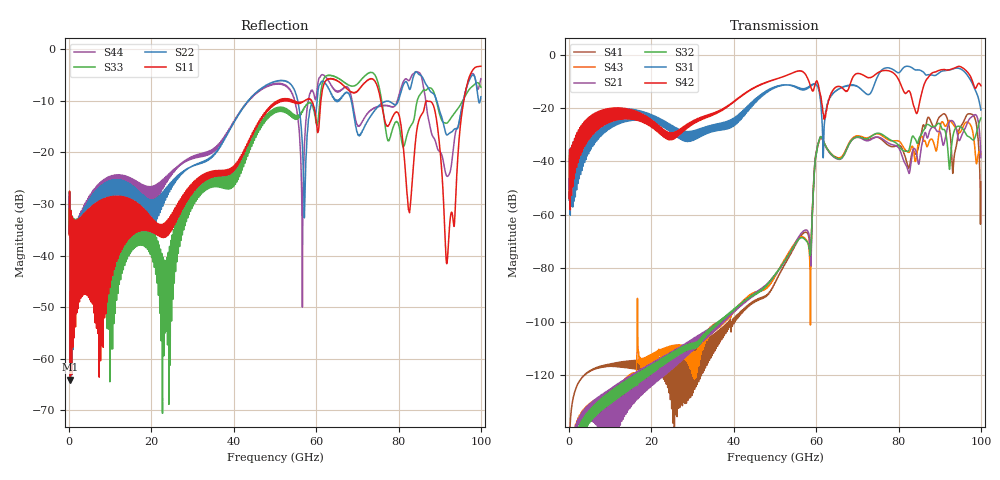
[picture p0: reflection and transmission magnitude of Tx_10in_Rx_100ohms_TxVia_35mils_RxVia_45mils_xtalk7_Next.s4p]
! Info: Touchstone file created by Circ.  Input file=Tx_10in_Rx_100ohms_TxVia_35mils_RxVia_45mils.circ
# Hz S RI R 50
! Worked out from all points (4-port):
!   10000 points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, 10 MHz to 100 GHz, reference 50 ohm
!   strongest paths, dB at 10 MHz, 25.01 GHz, 50.01 GHz, 75.01 GHz, 100 GHz:
!     S42: -53.9, -29.8, -9.3, -6.8, -11.6
!     S31: -54.5, -28.2, -12.2, -7.9, -20.7
!     S32: -179.9, -111.8, -82.3, -29.4, -23.7
!     S21: -175.4, -111.3, -82.3, -30.9, -38.6
!     S43: -175.0, -108.9, -83.1, -29.7, -37.3
!     S41: -162.1, -113.1, -85.5, -31.0, -47.6
!   lowest |S11| = -64.1 dB at 310 MHz (marker M1), VSWR 1.00, Z = 50 - j0.0586 ohm
!   |S11| at or under -10 dB: start of sweep to 50.63 GHz; 54.59 GHz to 57.12 GHz (2.532 GHz wide, 4.53 % of centre); 75.73 GHz to 95.85 GHz (20.12 GHz wide, 23.5 % of centre) (the widest 3 of 16)
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1e7  0.0143 0.00682  1.15e-09 1.24e-09  0.000302 0.00186  4.96e-09 6.08e-09
     1.15e-09 1.24e-09  0.0153 0.00656  6.34e-10 7.94e-10  0.000653 0.0019
     0.000302 0.00186  6.34e-10 7.94e-10  0.0149 0.00655  1.21e-09 1.3e-09
     4.96e-09 6.08e-09  0.000653 0.0019  1.21e-09 1.3e-09  0.0152 0.00659
3.1e8  0.000221 -0.000586  3.67e-10 2.88e-08  0.000838 0.004  -3.5e-09 1.37e-07
       3.67e-10 2.88e-08  0.000475 -0.000558  2.25e-09 1.74e-08  0.00094 0.00404
       0.000838 0.004  2.25e-09 1.74e-08  0.000263 -0.000555  1.31e-10 2.96e-08
       -3.5e-09 1.37e-07  0.00094 0.00404  1.31e-10 2.96e-08  0.00054 -0.000356
5.087e10  0.0774 0.2966  1.46e-05 -8.9e-05  0.1739 0.1863  1.51e-05 -7.22e-05
          1.46e-05 -8.9e-05  0.4482 0.2057  3.34e-06 -9.38e-05  0.3429 -0.1121
          0.1739 0.1863  3.34e-06 -9.38e-05  0.0734 0.238  -2.41e-06 -9.42e-05
          1.51e-05 -7.22e-05  0.3429 -0.1121  -2.41e-06 -9.42e-05  0.4219 0.1798
6.092e10  0.1979 0.1408  0.0209 0.0189  -0.1604 -0.0185  0.0203 0.0183
          0.0209 0.0189  0.4272 -0.1622  0.022 0.0174  0.0465 0.1872
          -0.1604 -0.0185  0.022 0.0174  0.2256 0.2239  0.0213 0.0169
          0.0203 0.0183  0.0465 0.1872  0.0213 0.0169  0.4976 -0.1923
7.341e10  -0.2918 -0.4256  -0.00959 0.0241  -0.00746 0.2012  -0.0084 0.0254
          -0.00959 0.0241  -0.0505 0.224  -0.00978 0.0279  0.3063 -0.2167
          -0.00746 0.2012  -0.00978 0.0279  -0.3802 -0.4565  -0.00849 0.0287
          -0.0084 0.0254  0.3063 -0.2167  -0.00849 0.0287  -0.067 0.2494
9.178e10  0.00606 -0.00598  -0.0356 -0.0179  0.4133 -0.2948  0.0386 0.0526
          -0.0356 -0.0179  0.1441 0.0313  0.00386 0.0232  0.4051 -0.3171
          0.4133 -0.2948  0.00386 0.0232  0.1889 -0.0381  -0.05 -0.00226
          0.0386 0.0526  0.4051 -0.3171  -0.05 -0.00226  0.0581 0.00879
1e11  -0.5731 0.371  -0.0117 0.00143  0.0627 0.067  -0.00274 -0.00313
      -0.0117 0.00143  -0.3444 0.0314  0.0223 0.0612  0.0186 0.261
      0.0627 0.067  0.0223 0.0612  -0.3069 0.2988  -0.00864 -0.0105
      -0.00274 -0.00313  0.0186 0.261  -0.00864 -0.0105  -0.5123 0.0748
